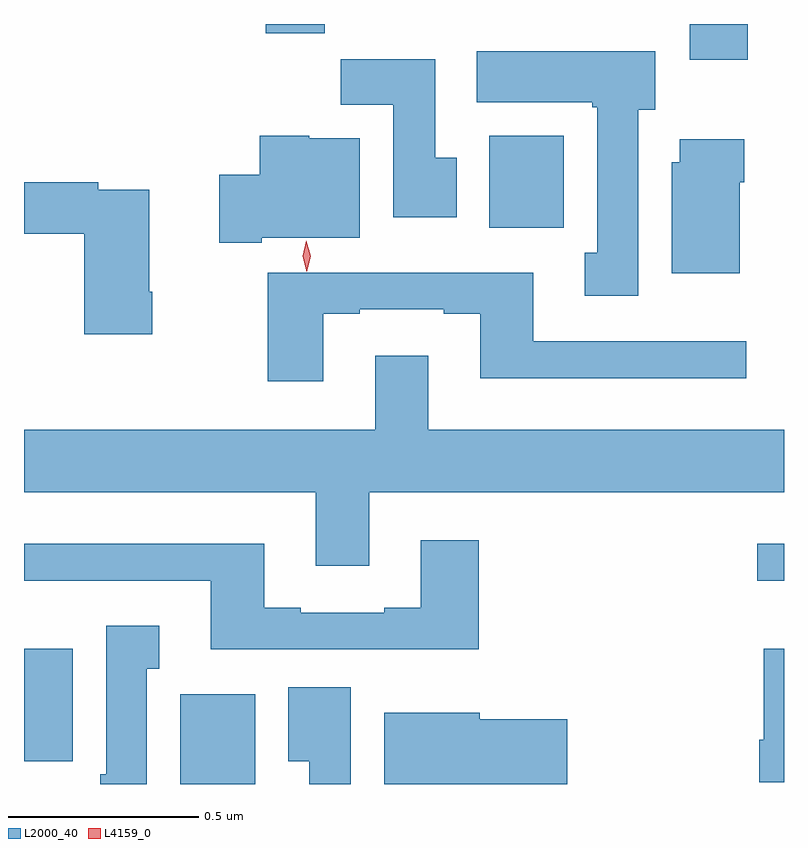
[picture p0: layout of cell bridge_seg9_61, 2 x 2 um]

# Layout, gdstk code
import gdstk
lib = gdstk.Library(unit=1e-6, precision=1e-09)
def R(c, l, rs):  # rectangles x0, y0, x1, y1
    for r in rs: c.add(gdstk.rectangle(r[:2], r[2:], *l))
def P(c, l, *ps):  # polygons
    for p in ps: c.add(gdstk.Polygon(p, *l))
L2000_40 = (2000, 40)
L4159_0 = (4159, 0)

bridge_seg9_61 = lib.new_cell('bridge_seg9_61')
R(bridge_seg9_61, L2000_40, [(1089.104,1206.308,1089.301,1206.544), (1088.693,1206.368,1088.821,1206.664), (1090.623,1206.843,1090.693,1206.94), (1089.917,1207.772,1090.114,1208.014), (1090.445,1208.214,1090.598,1208.308), (1089.329,1208.284,1089.485,1208.308)])
P(bridge_seg9_61, L2000_40, [(1090.309,1208.082),(1090.354,1208.082),(1090.354,1208.236),(1089.885,1208.236),(1089.885,1208.102),(1090.189,1208.102),(1090.189,1208.089),(1090.202,1208.089),(1090.202,1207.706),(1090.169,1207.706),(1090.169,1207.593),(1090.309,1207.593)],
  [(1089.832,1207.956),(1089.775,1207.956),(1089.775,1208.215),(1089.526,1208.215),(1089.526,1208.096),(1089.665,1208.096),(1089.665,1207.8),(1089.832,1207.8)],
  [(1089.319,1207.745),(1089.577,1207.745),(1089.577,1208.008),(1089.444,1208.008),(1089.444,1208.014),(1089.314,1208.014),(1089.314,1207.911),(1089.207,1207.911),(1089.207,1207.733),(1089.319,1207.733)],
  [(1090.576,1207.892),(1090.589,1207.892),(1090.589,1208.005),(1090.418,1208.005),(1090.418,1207.944),(1090.397,1207.944),(1090.397,1207.652),(1090.576,1207.652)],
  [(1089.03,1207.603),(1089.022,1207.603),(1089.022,1207.872),(1088.888,1207.872),(1088.888,1207.892),(1088.693,1207.892),(1088.693,1207.756),(1088.852,1207.756),(1088.852,1207.491),(1089.03,1207.491)],
  [(1089.481,1207.545),(1089.577,1207.545),(1089.577,1207.557),(1089.797,1207.557),(1089.797,1207.545),(1089.893,1207.545),(1089.893,1207.376),(1090.594,1207.376),(1090.594,1207.473),(1090.033,1207.473),(1090.033,1207.654),(1089.445,1207.654),(1089.445,1207.653),(1089.334,1207.653),(1089.334,1207.368),(1089.481,1207.368)],
  [(1089.601,1207.076),(1090.693,1207.076),(1090.693,1207.24),(1089.757,1207.24),(1089.757,1207.435),(1089.617,1207.435),(1089.617,1207.24),(1088.693,1207.24),(1088.693,1207.076),(1089.461,1207.076),(1089.461,1206.882),(1089.601,1206.882)],
  [(1089.89,1206.949),(1089.737,1206.949),(1089.737,1206.772),(1089.641,1206.772),(1089.641,1206.759),(1089.421,1206.759),(1089.421,1206.772),(1089.325,1206.772),(1089.325,1206.94),(1088.693,1206.94),(1088.693,1206.843),(1089.185,1206.843),(1089.185,1206.663),(1089.645,1206.663),(1089.645,1206.662),(1089.89,1206.662)],
  [(1089.016,1206.611),(1089.049,1206.611),(1089.049,1206.724),(1088.909,1206.724),(1088.909,1206.334),(1088.894,1206.334),(1088.894,1206.308),(1089.016,1206.308)],
  [(1090.693,1206.664),(1090.64,1206.664),(1090.64,1206.424),(1090.628,1206.424),(1090.628,1206.312),(1090.693,1206.312)],
  [(1089.553,1206.562),(1089.389,1206.562),(1089.389,1206.368),(1089.443,1206.368),(1089.443,1206.308),(1089.553,1206.308)],
  [(1090.123,1206.479),(1089.892,1206.479),(1089.892,1206.496),(1089.641,1206.496),(1089.641,1206.308),(1090.123,1206.308)])
P(bridge_seg9_61, L4159_0, [(1089.437,1207.656),(1089.437,1207.656),(1089.427,1207.697),(1089.436,1207.738),(1089.436,1207.738),(1089.436,1207.738),(1089.447,1207.697),(1089.437,1207.656)])

lib.write_gds('bridge_seg9_61.gds')
